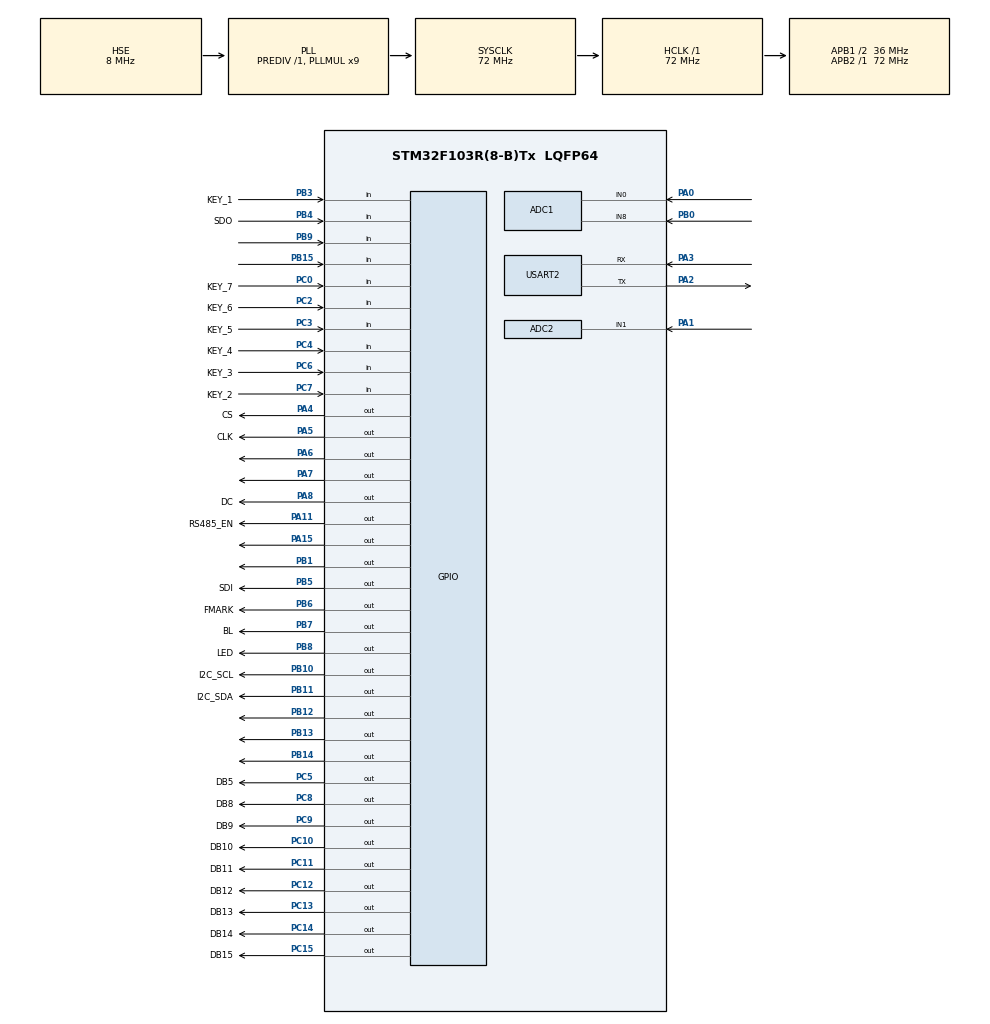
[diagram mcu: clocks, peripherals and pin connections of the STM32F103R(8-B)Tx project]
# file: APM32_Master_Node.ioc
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ADC1.Channel-1\#ChannelRegularConversion=ADC_CHANNEL_0
ADC1.ContinuousConvMode=DISABLE
ADC1.NbrOfConversionFlag=1
ADC1.Rank-1\#ChannelRegularConversion=1
ADC1.SamplingTime-1\#ChannelRegularConversion=ADC_SAMPLETIME_1CYCLE_5
ADC1.master=1
ADC2.Channel-1\#ChannelRegularConversion=ADC_CHANNEL_1
ADC2.ContinuousConvMode=ENABLE
ADC2.NbrOfConversionFlag=1
ADC2.Rank-1\#ChannelRegularConversion=1
ADC2.SamplingTime-1\#ChannelRegularConversion=ADC_SAMPLETIME_1CYCLE_5
Dma.Request0=USART2_TX
Dma.Request1=USART2_RX
Dma.USART2_RX.1.Direction=DMA_PERIPH_TO_MEMORY
Dma.USART2_RX.1.Instance=DMA1_Channel6
Dma.USART2_RX.1.MemDataAlignment=DMA_MDATAALIGN_BYTE
Dma.USART2_RX.1.MemInc=DMA_MINC_ENABLE
Dma.USART2_RX.1.Mode=DMA_NORMAL
Dma.USART2_RX.1.PeriphDataAlignment=DMA_PDATAALIGN_BYTE
Dma.USART2_RX.1.PeriphInc=DMA_PINC_DISABLE
Dma.USART2_RX.1.Priority=DMA_PRIORITY_LOW
Dma.USART2_TX.0.Direction=DMA_MEMORY_TO_PERIPH
Dma.USART2_TX.0.Instance=DMA1_Channel7
Dma.USART2_TX.0.MemDataAlignment=DMA_MDATAALIGN_BYTE
Dma.USART2_TX.0.MemInc=DMA_MINC_ENABLE
Dma.USART2_TX.0.Mode=DMA_NORMAL
Dma.USART2_TX.0.PeriphDataAlignment=DMA_PDATAALIGN_BYTE
Dma.USART2_TX.0.PeriphInc=DMA_PINC_DISABLE
Dma.USART2_TX.0.Priority=DMA_PRIORITY_LOW
FREERTOS.Tasks01=defaultTask,0,128,StartDefaultTask,Default,NULL,Dynamic,NULL,NULL
FREERTOS.configUSE_TICK_HOOK=1
Mcu.Family=STM32F1
Mcu.Name=STM32F103R(8-B)Tx
Mcu.Package=LQFP64
NVIC.DMA1_Channel6_IRQn=true\:5\:0\:false\:false\:true\:true\:false\:true\:true
NVIC.DMA1_Channel7_IRQn=true\:5\:0\:false\:false\:true\:true\:false\:true\:true
NVIC.PriorityGroup=NVIC_PRIORITYGROUP_4
NVIC.TIM1_UP_IRQn=true\:15\:0\:false\:false\:true\:false\:false\:true\:true
NVIC.TimeBase=TIM1_UP_IRQn
NVIC.TimeBaseIP=TIM1
NVIC.USART2_IRQn=true\:5\:0\:false\:false\:true\:true\:true\:true\:true
PA0-WKUP.Signal=ADCx_IN0
PA1.Signal=ADCx_IN1
PA11.GPIO_Label=RS485_EN
PA11.PinState=GPIO_PIN_SET
PA11.Signal=GPIO_Output
PA13.Mode=Serial_Wire
PA13.Signal=SYS_JTMS-SWDIO
PA14.Mode=Serial_Wire
PA14.Signal=SYS_JTCK-SWCLK
PA15.GPIO_PuPd=GPIO_PULLUP
PA15.PinState=GPIO_PIN_SET
PA15.Signal=GPIO_Output
PA2.Mode=Asynchronous
PA2.Signal=USART2_TX
PA3.Mode=Asynchronous
PA3.Signal=USART2_RX
PA4.GPIO_Label=CS
PA4.GPIO_PuPd=GPIO_PULLUP
PA4.PinState=GPIO_PIN_SET
PA4.Signal=GPIO_Output
PA5.GPIO_Label=CLK
PA5.GPIO_PuPd=GPIO_PULLUP
PA5.PinState=GPIO_PIN_SET
PA5.Signal=GPIO_Output
PA6.GPIO_PuPd=GPIO_PULLUP
PA6.Signal=GPIO_Output
PA7.GPIO_PuPd=GPIO_PULLUP
PA7.PinState=GPIO_PIN_SET
PA7.Signal=GPIO_Output
PA8.GPIO_Label=DC
PA8.GPIO_PuPd=GPIO_PULLUP
PA8.PinState=GPIO_PIN_SET
PA8.Signal=GPIO_Output
PB0.Signal=ADCx_IN8
PB1.GPIO_PuPd=GPIO_PULLUP
PB1.PinState=GPIO_PIN_SET
PB1.Signal=GPIO_Output
PB10.GPIO_Label=I2C_SCL
PB10.GPIO_ModeDefaultOutputPP=GPIO_MODE_OUTPUT_OD
PB10.GPIO_PuPd=GPIO_PULLUP
PB10.Signal=GPIO_Output
PB11.GPIO_Label=I2C_SDA
PB11.GPIO_ModeDefaultOutputPP=GPIO_MODE_OUTPUT_OD
PB11.GPIO_PuPd=GPIO_PULLUP
PB11.Signal=GPIO_Output
PB12.GPIO_PuPd=GPIO_PULLUP
PB12.PinState=GPIO_PIN_SET
PB12.Signal=GPIO_Output
PB13.GPIO_PuPd=GPIO_PULLUP
PB13.PinState=GPIO_PIN_SET
PB13.Signal=GPIO_Output
PB14.GPIO_PuPd=GPIO_PULLUP
PB14.PinState=GPIO_PIN_SET
PB14.Signal=GPIO_Output
PB15.GPIO_PuPd=GPIO_PULLUP
PB15.Signal=GPIO_Input
PB3.GPIO_Label=KEY_1
PB3.GPIO_PuPd=GPIO_PULLUP
PB3.Signal=GPIO_Input
PB4.GPIO_Label=SDO
PB4.Signal=GPIO_Input
PB5.GPIO_Label=SDI
PB5.GPIO_PuPd=GPIO_PULLUP
PB5.PinState=GPIO_PIN_SET
PB5.Signal=GPIO_Output
PB6.GPIO_Label=FMARK
PB6.PinState=GPIO_PIN_RESET
PB6.Signal=GPIO_Output
PB7.GPIO_Label=BL
PB7.GPIO_PuPd=GPIO_PULLUP
PB7.PinState=GPIO_PIN_SET
PB7.Signal=GPIO_Output
PB8.GPIO_Label=LED
PB8.GPIO_PuPd=GPIO_PULLUP
PB8.PinState=GPIO_PIN_RESET
PB8.Signal=GPIO_Output
PB9.GPIO_PuPd=GPIO_PULLUP
PB9.Signal=GPIO_Input
PC0.GPIO_Label=KEY_7
PC0.GPIO_PuPd=GPIO_PULLUP
PC0.Signal=GPIO_Input
PC10.GPIO_Label=DB10
PC10.GPIO_PuPd=GPIO_PULLUP
PC10.PinState=GPIO_PIN_RESET
PC10.Signal=GPIO_Output
PC11.GPIO_Label=DB11
PC11.GPIO_PuPd=GPIO_PULLUP
PC11.PinState=GPIO_PIN_RESET
PC11.Signal=GPIO_Output
PC12.GPIO_Label=DB12
PC12.GPIO_PuPd=GPIO_PULLUP
PC12.PinState=GPIO_PIN_RESET
PC12.Signal=GPIO_Output
PC13-TAMPER-RTC.GPIO_Label=DB13
PC13-TAMPER-RTC.GPIO_PuPd=GPIO_PULLUP
PC13-TAMPER-RTC.PinState=GPIO_PIN_RESET
PC13-TAMPER-RTC.Signal=GPIO_Output
PC14-OSC32_IN.GPIO_Label=DB14
PC14-OSC32_IN.GPIO_PuPd=GPIO_PULLUP
PC14-OSC32_IN.PinState=GPIO_PIN_RESET
PC14-OSC32_IN.Signal=GPIO_Output
PC15-OSC32_OUT.GPIO_Label=DB15
PC15-OSC32_OUT.GPIO_PuPd=GPIO_PULLUP
PC15-OSC32_OUT.PinState=GPIO_PIN_RESET
PC15-OSC32_OUT.Signal=GPIO_Output
PC2.GPIO_Label=KEY_6
PC2.GPIO_PuPd=GPIO_PULLUP
PC2.Signal=GPIO_Input
PC3.GPIO_Label=KEY_5
PC3.GPIO_PuPd=GPIO_PULLUP
PC3.Signal=GPIO_Input
PC4.GPIO_Label=KEY_4
PC4.GPIO_PuPd=GPIO_PULLUP
PC4.Signal=GPIO_Input
PC5.GPIO_Label=DB5
PC5.GPIO_PuPd=GPIO_PULLUP
PC5.PinState=GPIO_PIN_RESET
PC5.Signal=GPIO_Output
PC6.GPIO_Label=KEY_3
PC6.GPIO_PuPd=GPIO_PULLUP
PC6.Signal=GPIO_Input
PC7.GPIO_Label=KEY_2
PC7.GPIO_PuPd=GPIO_PULLUP
PC7.Signal=GPIO_Input
PC8.GPIO_Label=DB8
PC8.GPIO_PuPd=GPIO_PULLUP
PC8.PinState=GPIO_PIN_RESET
PC8.Signal=GPIO_Output
PC9.GPIO_Label=DB9
PC9.GPIO_PuPd=GPIO_PULLUP
PC9.PinState=GPIO_PIN_RESET
PC9.Signal=GPIO_Output
PD0-OSC_IN.Mode=HSE-External-Oscillator
PD0-OSC_IN.Signal=RCC_OSC_IN
PD1-OSC_OUT.Mode=HSE-External-Oscillator
PD1-OSC_OUT.Signal=RCC_OSC_OUT
ProjectManager.HeapSize=0x200
ProjectManager.StackSize=0x400
ProjectManager.TargetToolchain=MDK-ARM V5.32
RCC.ADCPresc=RCC_ADCPCLK2_DIV6
RCC.AHBFreq_Value=72000000
RCC.APB1CLKDivider=RCC_HCLK_DIV2
RCC.APB1Freq_Value=36000000
RCC.APB1TimFreq_Value=72000000
RCC.APB2Freq_Value=72000000
RCC.APB2TimFreq_Value=72000000
RCC.HCLKFreq_Value=72000000
RCC.PLLMUL=RCC_PLL_MUL9
RCC.PLLSourceVirtual=RCC_PLLSOURCE_HSE
RCC.SYSCLKFreq_VALUE=72000000
RCC.SYSCLKSource=RCC_SYSCLKSOURCE_PLLCLK
RCC.USBFreq_Value=72000000
SH.ADCx_IN0.0=ADC1_IN0,IN0
SH.ADCx_IN1.0=ADC2_IN1,IN1
SH.ADCx_IN8.0=ADC1_IN8,IN8
USART2.VirtualMode=VM_ASYNC
VP_FREERTOS_VS_CMSIS_V1.Mode=CMSIS_V1
VP_SYS_VS_tim1.Mode=TIM1
board=custom

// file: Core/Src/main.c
/* USER CODE BEGIN Header */
/**
  ******************************************************************************
  * @file           : main.c
  * @brief          : Main program body
  ******************************************************************************
  * @attention
  *
  * Copyright (c) 2025 STMicroelectronics.
  * All rights reserved.
  *
  * This software is licensed under terms that can be found in the LICENSE file
  * in the root directory of this software component.
  * If no LICENSE file comes with this software, it is provided AS-IS.
  *
  ******************************************************************************
  */
/* USER CODE END Header */
#include "main.h"
#include "cmsis_os.h"
#include "adc.h"
#include "dma.h"
#include "usart.h"
#include "gpio.h"

/* USER CODE BEGIN Includes */

#define FRAME_START_BYTE 0xAA
#define MAX_FRAME_LENGTH 32

#include "lvgl_task.h"
#include "lcd.h"
#include "test code.h"
#include "lvgl.h"
#include "lv_port_disp_template.h"
#include "my_lvgl_ui.h"
#include "charge_control.h"
#include "Lvgl_ui.h"
#include "../generated/gui_guider.h"
#include "../generated/events_init.h"
/* USER CODE END Includes */

/* USER CODE BEGIN PTD */

// 状态定义（可用于外部调用）
uint8_t rx_buffer[BUFFER_SIZE] = {0};
uint8_t rx_done = 0;
uint8_t rx_len = 0;
float current=0.1;
uint16_t dac_set;
lv_ui guider_ui;
uint8_t in_detail = 0; // 新增，主界面/详情页状态

/* USER CODE END PTD */

void SystemClock_Config(void);
void MX_FREERTOS_Init(void);

/* USER CODE BEGIN 0 */
//lv_ui guider_ui;

/* USER CODE END 0 */

int main(void)
{

  /* MCU Configuration--------------------------------------------------------*/

  /* Reset of all peripherals, Initializes the Flash interfac1e and the Systick. */
  HAL_Init();

  /* Configure the system clock */
  SystemClock_Config();

  /* Initialize all configured peripherals */
  MX_GPIO_Init();
  MX_DMA_Init();
  MX_USART2_UART_Init();
  MX_ADC2_Init();
  MX_ADC1_Init();
  /* USER CODE BEGIN 2 */
	HAL_UART_Receive_DMA(&huart2, rx_buffer, BUFFER_SIZE);
	__HAL_UART_ENABLE_IT(&huart2, UART_IT_IDLE);

	IIC_GPIO_Config();

	HAL_GPIO_WritePin(RS485_EN_GPIO_Port,RS485_EN_Pin,GPIO_PIN_RESET);

# ifdef LVGL_UI

				lv_init();
				lv_port_disp_init();
				lvgl_main_screen_create();
				//setup_ui(&guider_ui);
				//events_init(&guider_ui);
#endif
	lvgl_task();

  /* USER CODE END 2 */

  /* Call init function for freertos objects (in cmsis_os2.c) */
  MX_FREERTOS_Init();

  /* Start scheduler */
  osKernelStart();

  /* We should never get here as control is now taken by the scheduler */

  /* Infinite loop */
  while (1)
  {

    /* USER CODE BEGIN 3 */
#ifdef LVGL_UI
		uint8_t key = read_key();
        if (key != KEY_NONE) {
            if (!in_detail) {
                // 主界面按键处理
                switch (key) {
                    case KEY_LEFT:
                        if (selected_card % 2 == 1) selected_card--;
                        break;
                    case KEY_RIGHT:
                        if (selected_card % 2 == 0) selected_card++;
                        break;
                    case KEY_UP:
                        if (selected_card >= 2) selected_card -= 2;
                        break;
                    case KEY_DOWN:
                        if (selected_card < 2) selected_card += 2;
                        break;
                    case KEY_OK:
                        // 进入详情页
                        if (selected_card == 0)
                            lvgl_detail_screen_create("Station 01", "Charging", 36.2, 2.5, 90);
                        else if (selected_card == 1)
                            lvgl_detail_screen_create("Station 02", "Idle", 0, 0, 0);
                        else if (selected_card == 2)
                            lvgl_detail_screen_create("Station 03", "Charging", 42.1, 3.0, 126);
                        else if (selected_card == 3)
                            lvgl_detail_screen_create("Station 04", "Idle", 0, 0, 0);
                        in_detail = 1;
                        break;
                    case KEY_MENU:
                        // 可扩展菜单页
                        break;
                }
                lvgl_update_card_highlight(selected_card);
            } else {
                // 详情页按键处理
                if (key == KEY_RETURN) {
                    lvgl_main_screen_create();
                    in_detail = 0;
                }
            }
        }
		 lv_tick_inc(1);
    lv_task_handler();
    HAL_Delay(5);
#endif
  }
  /* USER CODE END 3 */
}

void SystemClock_Config(void)
{
  RCC_OscInitTypeDef RCC_OscInitStruct = {0};
  RCC_ClkInitTypeDef RCC_ClkInitStruct = {0};
  RCC_PeriphCLKInitTypeDef PeriphClkInit = {0};

  /** Initializes the RCC Oscillators according to the specified parameters
  * in the RCC_OscInitTypeDef structure.
  */
  RCC_OscInitStruct.OscillatorType = RCC_OSCILLATORTYPE_HSE;
  RCC_OscInitStruct.HSEState = RCC_HSE_ON;
  RCC_OscInitStruct.HSEPredivValue = RCC_HSE_PREDIV_DIV1;
  RCC_OscInitStruct.HSIState = RCC_HSI_ON;
  RCC_OscInitStruct.PLL.PLLState = RCC_PLL_ON;
  RCC_OscInitStruct.PLL.PLLSource = RCC_PLLSOURCE_HSE;
  RCC_OscInitStruct.PLL.PLLMUL = RCC_PLL_MUL9;
  if (HAL_RCC_OscConfig(&RCC_OscInitStruct) != HAL_OK)
  {
    Error_Handler();
  }

  /** Initializes the CPU, AHB and APB buses clocks
  */
  RCC_ClkInitStruct.ClockType = RCC_CLOCKTYPE_HCLK|RCC_CLOCKTYPE_SYSCLK
                              |RCC_CLOCKTYPE_PCLK1|RCC_CLOCKTYPE_PCLK2;
  RCC_ClkInitStruct.SYSCLKSource = RCC_SYSCLKSOURCE_PLLCLK;
  RCC_ClkInitStruct.AHBCLKDivider = RCC_SYSCLK_DIV1;
  RCC_ClkInitStruct.APB1CLKDivider = RCC_HCLK_DIV2;
  RCC_ClkInitStruct.APB2CLKDivider = RCC_HCLK_DIV1;

  if (HAL_RCC_ClockConfig(&RCC_ClkInitStruct, FLASH_LATENCY_2) != HAL_OK)
  {
    Error_Handler();
  }
  PeriphClkInit.PeriphClockSelection = RCC_PERIPHCLK_ADC;
  PeriphClkInit.AdcClockSelection = RCC_ADCPCLK2_DIV6;
  if (HAL_RCCEx_PeriphCLKConfig(&PeriphClkInit) != HAL_OK)
  {
    Error_Handler();
  }
}

/* USER CODE BEGIN 4 */
#ifdef LVGL_UI
uint8_t read_key(void)
{

    uint8_t temp = KEY_NONE;

    if (HAL_GPIO_ReadPin(KEY_1_GPIO_Port, KEY_1_Pin) == 0)
        temp = KEY_UP;
    else if (HAL_GPIO_ReadPin(KEY_6_GPIO_Port, KEY_6_Pin) == 0)
        temp = KEY_MENU;
    else if (HAL_GPIO_ReadPin(KEY_5_GPIO_Port, KEY_5_Pin) == 0)
        temp = KEY_OK;
    else if (HAL_GPIO_ReadPin(KEY_3_GPIO_Port, KEY_3_Pin) == 0)
        temp = KEY_RIGHT;
    else if (HAL_GPIO_ReadPin(KEY_2_GPIO_Port, KEY_2_Pin) == 0)
        temp = KEY_DOWN;
    else if (HAL_GPIO_ReadPin(KEY_4_GPIO_Port, KEY_4_Pin) == 0)
        temp = KEY_LEFT;
    else if (HAL_GPIO_ReadPin(GPIOB, GPIO_PIN_9) == 0)
        temp = KEY_RETURN;

    return temp;
}
#endif
void USART2_IRQHandler(void)
{
  /* USER CODE BEGIN USART2_IRQn 0 */
  /* USER CODE END USART2_IRQn 0 */
  /* USER CODE BEGIN USART2_IRQn 1 */
	/* 1. 先判断 IDLE */
    if (__HAL_UART_GET_FLAG(&huart2, UART_FLAG_IDLE) != RESET)
    {
        __HAL_UART_CLEAR_IDLEFLAG(&huart2);   // 读 SR + 读 DR

        /* 2. 停 DMA，计算长度 */
        HAL_UART_DMAStop(&huart2);
        rx_len = BUFFER_SIZE - __HAL_DMA_GET_COUNTER(&hdma_usart2_rx);
        rx_done = 1;

        /* 3. 重新启动 DMA 接收 */
        HAL_UART_Receive_DMA(&huart2, rx_buffer, BUFFER_SIZE);
    }

  /* USER CODE END USART2_IRQn 1 */
}
/* USER CODE END 4 */

void HAL_TIM_PeriodElapsedCallback(TIM_HandleTypeDef *htim)
{
  if (htim->Instance == TIM1) {
    HAL_IncTick();
  }
}

void Error_Handler(void)
{
  __disable_irq();
  while (1)
  {
  }
}

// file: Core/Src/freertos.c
/* USER CODE BEGIN Header */
/**
  ******************************************************************************
  * File Name          : freertos.c
  * Description        : Code for freertos applications
  ******************************************************************************
  * @attention
  *
  * Copyright (c) 2025 STMicroelectronics.
  * All rights reserved.
  *
  * This software is licensed under terms that can be found in the LICENSE file
  * in the root directory of this software component.
  * If no LICENSE file comes with this software, it is provided AS-IS.
  *
  ******************************************************************************
  */
/* USER CODE END Header */

#include "FreeRTOS.h"
#include "task.h"
#include "main.h"
#include "cmsis_os.h"

osThreadId defaultTaskHandle;

void StartDefaultTask(void const * argument);

void MX_FREERTOS_Init(void); /* (MISRA C 2004 rule 8.1) */

/* GetIdleTaskMemory prototype (linked to static allocation support) */
void vApplicationGetIdleTaskMemory( StaticTask_t **ppxIdleTaskTCBBuffer, StackType_t **ppxIdleTaskStackBuffer, uint32_t *pulIdleTaskStackSize );

/* Hook prototypes */
void vApplicationTickHook(void);

/* USER CODE BEGIN 3 */
__weak void vApplicationTickHook( void )
{
   /* This function will be called by each tick interrupt if
   configUSE_TICK_HOOK is set to 1 in FreeRTOSConfig.h. User code can be
   added here, but the tick hook is called from an interrupt context, so
   code must not attempt to block, and only the interrupt safe FreeRTOS API
   functions can be used (those that end in FromISR()). */
}
/* USER CODE END 3 */

/* USER CODE BEGIN GET_IDLE_TASK_MEMORY */
static StaticTask_t xIdleTaskTCBBuffer;
static StackType_t xIdleStack[configMINIMAL_STACK_SIZE];

void vApplicationGetIdleTaskMemory( StaticTask_t **ppxIdleTaskTCBBuffer, StackType_t **ppxIdleTaskStackBuffer, uint32_t *pulIdleTaskStackSize )
{
  *ppxIdleTaskTCBBuffer = &xIdleTaskTCBBuffer;
  *ppxIdleTaskStackBuffer = &xIdleStack[0];
  *pulIdleTaskStackSize = configMINIMAL_STACK_SIZE;
  /* place for user code */
}
/* USER CODE END GET_IDLE_TASK_MEMORY */

void MX_FREERTOS_Init(void) {

  /* Create the thread(s) */
  /* definition and creation of defaultTask */
  osThreadDef(defaultTask, StartDefaultTask, osPriorityNormal, 0, 128);
  defaultTaskHandle = osThreadCreate(osThread(defaultTask), NULL);

}

void StartDefaultTask(void const * argument)
{
  for(;;)
  {
    osDelay(1);
  }
}
